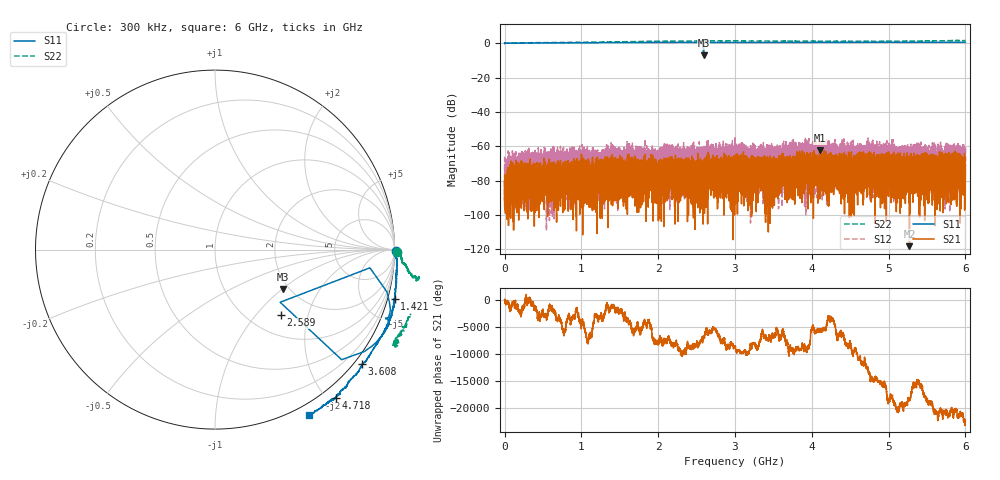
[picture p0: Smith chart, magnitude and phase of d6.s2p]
!Agilent Technologies,N5230C,SG49000117,A.08.50.07
!Agilent N5230C: A.08.50.07
!Date: Thursday, May 16, 2024 19:31:10
!Correction: S11(Full 2 Port(1,2))
!S21(Full 2 Port(1,2))
!S12(Full 2 Port(1,2))
!S22(Full 2 Port(1,2))
!S2P File: Measurements: S11, S21, S12, S22:
# Hz S  MA  R 50
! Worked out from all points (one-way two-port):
!   20001 points, 300 kHz to 6 GHz, reference 50 ohm
!   highest |S21| = -62.42 dB at 4.101 GHz (marker M1); lowest = -118.2 dB at 5.271 GHz (marker M2)
!   lowest |S11| = -7.2 dB at 2.59 GHz (marker M3), VSWR 2.56, Z = 93.2 - j50.4 ohm
!   |S11| at or under -10 dB: nowhere
!   |S22| runs from -0.3 to 1.6 dB; largest |S21 - S12| = 0.0019
!   S11 on the Smith chart (normalised r, x): 300 kHz: open; 1.421 GHz: -1.01, -7.31; 2.589 GHz: 1.37, -1.37; 3.608 GHz: -0.18, -2.90; 4.718 GHz: -0.17, -2.10; 6 GHz: -0.11, -1.70
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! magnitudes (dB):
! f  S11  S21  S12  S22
! 300 kHz  0.1  -92.1  -66.1  0.1
! 30.6 MHz  0.0  -81.8  -71.2  0.0
! 291.9 MHz  0.1  -73.0  -65.2  0.2
! 1 GHz  0.2  -72.5  -72.4  0.5
! 1.421 GHz  0.3  -79.5  -70.6  0.7
! 2 GHz  0.4  -80.8  -69.0  1.1
! 2.088 GHz  0.4  -80.6  -61.6  1.2
! 2.589 GHz  -5.7  -77.0  -69.7  1.3
! 2.59 GHz  -7.2  -71.6  -77.3  1.3
! 3 GHz  0.4  -80.1  -54.5  1.3
! 3.08 GHz  0.4  -70.1  -66.6  1.3
! 3.39 GHz  0.4  -77.0  -63.0  1.3
! 3.608 GHz  0.3  -83.2  -76.4  1.3
! 4 GHz  0.4  -75.2  -74.7  1.2
! 4.101 GHz  0.5  -62.4  -62.4  1.1
! 4.577 GHz  0.5  -78.7  -60.0  1.1
! 4.718 GHz  0.5  -72.1  -77.9  1.1
! 5 GHz  0.5  -72.8  -68.0  1.2
! 5.271 GHz  0.5  -118.2  -65.6  1.3
! 5.903 GHz  0.5  -71.6  -58.5  1.5
! 5.97 GHz  0.5  -75.1  -59.0  1.5
! 6 GHz  0.5  -72.8  -61.5  1.5
